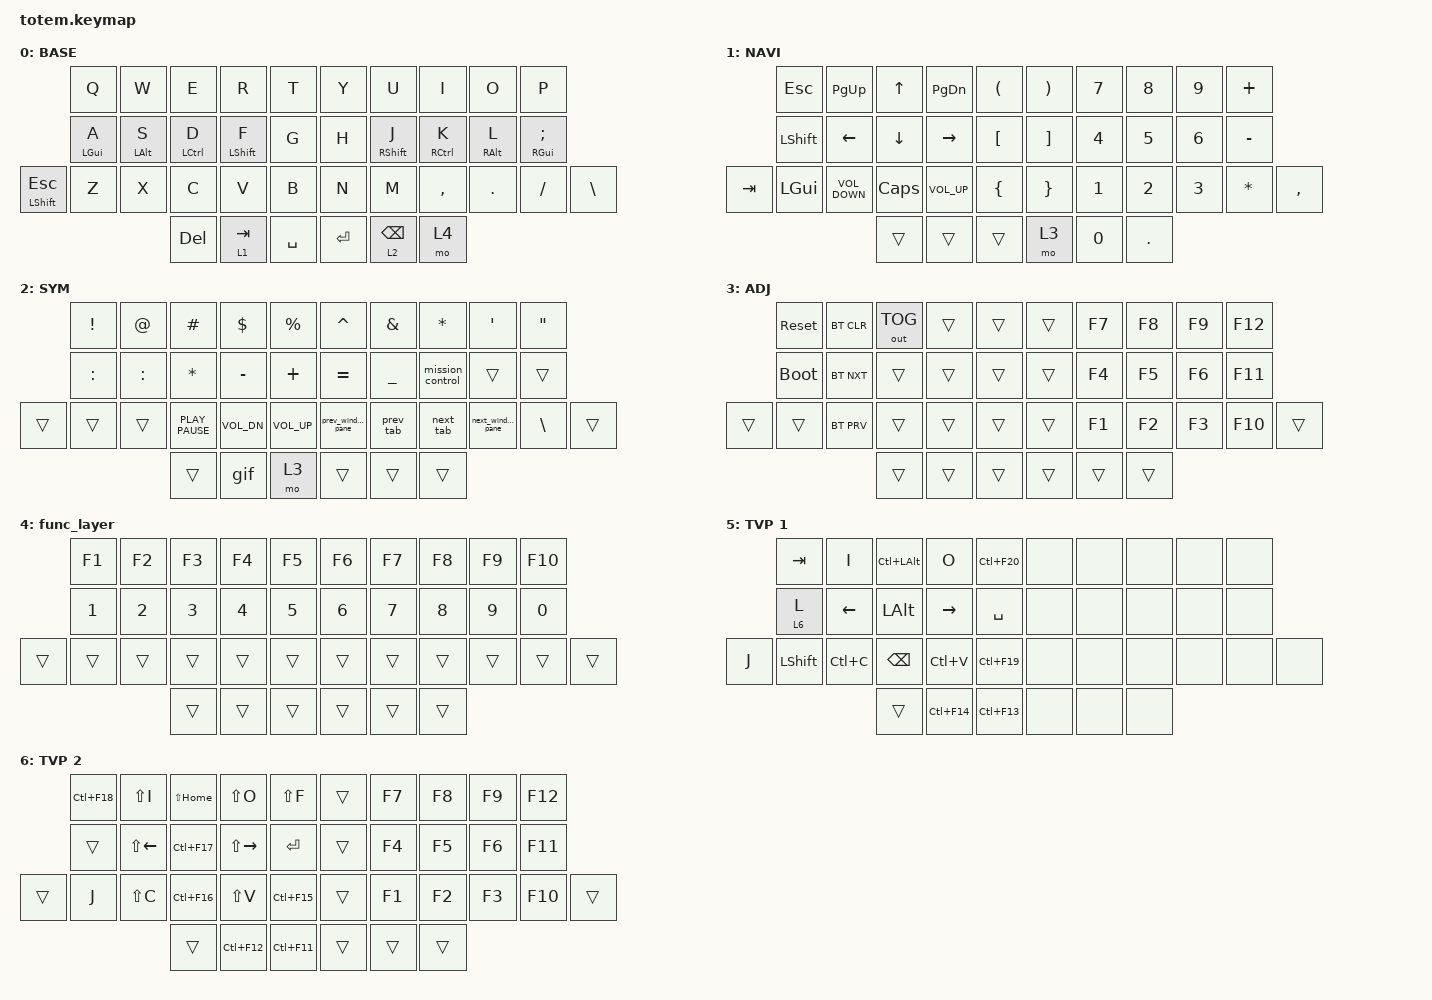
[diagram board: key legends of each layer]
//
//                                                        ▀▀▀▀▀     ▀▀▀▀▀          ▀▀█▀▀
//                                                        ▄▀▀▀▄  ▄  ▄▀▀▀▄  ▄  ▄▀▀▀▄  █  ▄▀▀▀▄
//                                                        █   █  █  █   █  █  █   █  █  █   █
//                                                         ▀▀▀   █   ▀▀▀   █   ▀▀▀   ▀   ▀▀▀
//                                                               █      ▄▄▄█▄▄▄    █   █  
//                                                               ▀      █  █  █     █▄█
//                                                             ▀▀▀▀▀    █  █  █      ▀
//                                                                      ▀  ▀  ▀
//
// ▄▄▄▄▄▄▄▄▄▄▄▄▄▄▄▄▄▄▄▄▄▄▄▄▄▄▄▄▄▄▄▄▄▄▄▄▄▄▄▄▄▄▄▄▄▄▄▄▄▄▄▄▄▄▄▄▄▄▄▄▄▄▄▄▄▄▄▄▄▄▄▄▄▄▄▄▄▄▄▄▄▄▄▄▄▄▄▄▄▄▄▄▄▄▄▄▄▄▄▄▄▄▄▄▄▄▄▄▄▄▄▄▄▄▄▄▄▄▄▄▄▄▄▄▄▄▄▄▄▄▄▄▄▄▄▄▄▄▄▄▄▄▄▄▄▄▄▄▄

#include <behaviors.dtsi>
#include <dt-bindings/zmk/bt.h>
#include <dt-bindings/zmk/keys.h>
#include <dt-bindings/zmk/outputs.h>

#define BASE 0
#define NAV  1
#define SYM  2
#define ADJ  3
#define TVP1 4
#define TVP2 5

&mt {
    quick-tap-ms = <100>;
    global-quick-tap;
    flavor = "tap-preferred";
    tapping-term-ms = <170>;
};

/ {
    combos {
        compatible = "zmk,combos";

        combo_esc {
            timeout-ms = <50>;
            key-positions = <0 1>;
            bindings = <&kp ESC>;
        };

        combo_tvp {
            timeout-ms = <100>;
            key-positions = <2 3 1>;
            bindings = <&tog 5>;
        };

        vim_escape {
            bindings = <&kp ESCAPE>;
            key-positions = <16 17>;
        };

        left_parenthesis {
            bindings = <&kp LEFT_PARENTHESIS>;
            key-positions = <4 3>;
        };

        right_parenthesis {
            bindings = <&kp RIGHT_PARENTHESIS>;
            key-positions = <5 6>;
        };

        left_brace {
            bindings = <&kp LEFT_BRACE>;
            key-positions = <24 25>;
        };

        right_brace {
            bindings = <&kp RIGHT_BRACE>;
            key-positions = <26 27>;
        };

        left_bracket {
            bindings = <&kp LEFT_BRACKET>;
            key-positions = <13 14>;
        };

        right_bracket {
            bindings = <&kp RIGHT_BRACKET>;
            key-positions = <15 16>;
        };
    };

    macros {
        gif: gif {
            label = "giphy";
            compatible = "zmk,behavior-macro";
            #binding-cells = <0>;
            bindings =
                <&macro_press>,
                <&kp LSHFT>,
                <&macro_tap>,
                <&kp N2>,
                <&macro_release>,
                <&kp LSHFT>,
                <&macro_tap>,
                <&kp G &kp I &kp F>;
        };

        next_window_pane: next_window_pane {
            compatible = "zmk,behavior-macro";
            #binding-cells = <0>;
            bindings =
                <&macro_press>,
                <&kp LCTRL &kp LEFT_GUI>,
                <&macro_tap>,
                <&kp RIGHT>,
                <&macro_release>,
                <&kp LCTRL &kp LEFT_GUI>;

            label = "NEXT_WINDOW_PANE";
        };

        prev_window_pane: prev_window_pane {
            compatible = "zmk,behavior-macro";
            #binding-cells = <0>;
            bindings =
                <&macro_press>,
                <&kp LCTRL &kp LEFT_GUI>,
                <&macro_tap>,
                <&kp LEFT>,
                <&macro_release>,
                <&kp LCTRL &kp LEFT_GUI>;

            label = "PREV_WINDOW_PANE";
        };

        next_tab: next_tab {
            compatible = "zmk,behavior-macro";
            #binding-cells = <0>;
            bindings =
                <&macro_press>,
                <&kp LCTRL>,
                <&macro_tap>,
                <&kp TAB>,
                <&macro_release>,
                <&kp LCTRL>;

            label = "NEXT_TAB";
        };

        prev_tab: prev_tab {
            compatible = "zmk,behavior-macro";
            #binding-cells = <0>;
            bindings =
                <&macro_press>,
                <&kp LCTRL &kp LEFT_SHIFT>,
                <&macro_tap>,
                <&kp TAB>,
                <&macro_release>,
                <&kp LCTRL &kp LSHFT>;

            label = "PREV_TAB";
        };

        mission_control: mission_control {
            compatible = "zmk,behavior-macro";
            #binding-cells = <0>;
            bindings =
                <&macro_press>,
                <&kp LEFT_GUI>,
                <&macro_tap>,
                <&kp TAB>,
                <&macro_release>,
                <&kp LEFT_GUI>;

            label = "MISSION_CONTROL";
        };
    };

    keymap {
        compatible = "zmk,keymap";

        // ▄▄▄▄▄▄▄▄▄▄▄▄▄▄▄▄▄▄▄▄▄▄▄▄▄▄▄▄▄▄▄▄▄▄▄▄▄▄▄▄▄▄▄▄▄▄▄▄▄▄▄▄▄▄▄▄▄▄▄▄▄▄▄▄▄▄▄▄▄▄▄▄▄▄▄▄▄▄▄▄▄▄▄▄▄▄▄▄▄▄▄▄▄▄▄▄▄▄▄▄▄▄▄▄▄▄▄▄▄▄▄▄▄▄▄▄▄▄▄▄▄▄▄▄▄▄▄▄▄▄▄▄▄▄▄▄▄▄▄▄▄▄▄▄▄▄▄▄▄

        base_layer {
            // ┏━━━━━━━━━━━━━━━━━━━━━━━━━━━━━━━━━━━━━━━┓

            label = "BASE";

            // ┗━━━━━━━━━━━━━━━━━━━━━━━━━━━━━━━━━━━━━━━┛
            //             ┏━━━━━━━━━━━┳━━━━━━━━━━━┳━━━━━━━━━━━┳━━━━━━━━━━━┳━━━━━━━━━━━┓   ┏━━━━━━━━━━━┳━━━━━━━━━━━┳━━━━━━━━━━━┳━━━━━━━━━━━┳━━━━━━━━━━━┓
            //             ┃     Q     ┃     W     ┃     F     ┃     P     ┃     G     ┃   ┃     J     ┃     L     ┃     U     ┃     Y     ┃     ;     ┃
            //             ┣━━━━━━━━━━━╋━━━━━━━━━━━╋━━━━━━━━━━━╋━━━━━━━━━━━╋━━━━━━━━━━━┫   ┣━━━━━━━━━━━╋━━━━━━━━━━━╋━━━━━━━━━━━╋━━━━━━━━━━━╋━━━━━━━━━━━┫
            //             ┃     A     ┃     R     ┃     S     ┃     T     ┃     D     ┃   ┃     H     ┃     N     ┃     E     ┃     I     ┃     O     ┃
            // ┏━━━━━━━━━━━╋━━━━━━━━━━━╋━━━━━━━━━━━╋━━━━━━━━━━━╋━━━━━━━━━━━╋━━━━━━━━━━━┫   ┣━━━━━━━━━━━╋━━━━━━━━━━━╋━━━━━━━━━━━╋━━━━━━━━━━━╋━━━━━━━━━━━╋━━━━━━━━━━━┓
            // ┃     Q     ┃     Z     ┃     X     ┃     C     ┃     V     ┃     B     ┃   ┃     K     ┃     M     ┃     ,     ┃     .     ┃     /     ┃     \     ┃
            // ┗━━━━━━━━━━━┻━━━━━━━━━━━┻━━━━━━━━━━━╋━━━━━━━━━━━╋━━━━━━━━━━━╋━━━━━━━━━━━┫   ┣━━━━━━━━━━━╋━━━━━━━━━━━╋━━━━━━━━━━━╋━━━━━━━━━━━┻━━━━━━━━━━━┻━━━━━━━━━━━┛
            //                                     ┃    DEL    ┃    TAB    ┃    SPC    ┃   ┃   ENTER   ┃           ┃   BSPC    ┃
            //                                     ┗━━━━━━━━━━━┻━━━━━━━━━━━┻━━━━━━━━━━━┛   ┗━━━━━━━━━━━┻━━━━━━━━━━━┻━━━━━━━━━━━┛

            bindings = <
                       &kp Q       &kp W           &kp E        &kp R        &kp T        &kp Y    &kp U            &kp I        &kp O       &kp P
                       &mt LGUI A  &mt LEFT_ALT S  &mt LCTRL D  &mt LSHFT F  &kp G        &kp H    &mt RSHFT J      &mt RCTRL K  &mt RALT L  &mt RGUI SEMICOLON
&mt LEFT_SHIFT ESCAPE  &kp Z       &kp X           &kp C        &kp V        &kp B        &kp N    &kp M            &kp COMMA    &kp PERIOD  &kp SLASH           &kp BSLH
                                                   &kp DEL      &lt 1 TAB    &kp SPACE    &kp RET  &lt 2 BACKSPACE  &mo 4
            >;
        };

        nav_layer {
            // ┏━━━━━━━━━━━━━━━━━━━━━━━━━━━━━━━━━━━━━━━┓

            label = "NAVI";

            // ┗━━━━━━━━━━━━━━━━━━━━━━━━━━━━━━━━━━━━━━━┛
            //             ┏━━━━━━━━━━━┳━━━━━━━━━━━┳━━━━━━━━━━━┳━━━━━━━━━━━┳━━━━━━━━━━━┓   ┏━━━━━━━━━━━┳━━━━━━━━━━━┳━━━━━━━━━━━┳━━━━━━━━━━━┳━━━━━━━━━━━┓
            //             ┃           ┃           ┃     UP    ┃           ┃     {     ┃   ┃     }     ┃     7     ┃     8     ┃     9     ┃     +     ┃
            //             ┣━━━━━━━━━━━╋━━━━━━━━━━━╋━━━━━━━━━━━╋━━━━━━━━━━━╋━━━━━━━━━━━┫   ┣━━━━━━━━━━━╋━━━━━━━━━━━╋━━━━━━━━━━━╋━━━━━━━━━━━╋━━━━━━━━━━━┫
            //             ┃   SHIFT   ┃   LEFT    ┃    DOWN   ┃   RIGHT   ┃     [     ┃   ┃     ]     ┃     4     ┃     5     ┃     6     ┃     -     ┃
            // ┏━━━━━━━━━━━╋━━━━━━━━━━━╋━━━━━━━━━━━╋━━━━━━━━━━━╋━━━━━━━━━━━╋━━━━━━━━━━━┫   ┣━━━━━━━━━━━╋━━━━━━━━━━━╋━━━━━━━━━━━╋━━━━━━━━━━━╋━━━━━━━━━━━╋━━━━━━━━━━━┓
            // ┃           ┃           ┃   P UP    ┃  C LOCK   ┃  P DOWN   ┃     (     ┃   ┃     )     ┃     1     ┃     2     ┃     3     ┃     *     ┃           ┃
            // ┗━━━━━━━━━━━┻━━━━━━━━━━━┻━━━━━━━━━━━╋━━━━━━━━━━━╋━━━━━━━━━━━╋━━━━━━━━━━━┫   ┣━━━━━━━━━━━╋━━━━━━━━━━━╋━━━━━━━━━━━╋━━━━━━━━━━━┻━━━━━━━━━━━┻━━━━━━━━━━━┛
            //                                     ┃           ┃    TAB    ┃    SPC    ┃   ┃    DEL    ┃     0     ┃           ┃
            //                                     ┗━━━━━━━━━━━┻━━━━━━━━━━━┻━━━━━━━━━━━┛   ┗━━━━━━━━━━━┻━━━━━━━━━━━┻━━━━━━━━━━━┛

            bindings = <
         &kp ESC       &kp PAGE_UP        &kp UP    &kp PAGE_DOWN    &kp LEFT_PARENTHESIS    &kp RIGHT_PARENTHESIS  &kp N7        &kp N8        &kp N9        &kp PLUS
         &kp LSHFT     &kp LEFT           &kp DOWN  &kp RIGHT        &kp LBKT                &kp RBKT               &kp NUMBER_4  &kp NUMBER_5  &kp N6        &kp MINUS
&kp TAB  &kp LEFT_GUI  &kp C_VOLUME_DOWN  &kp CAPS  &kp C_VOLUME_UP  &kp LEFT_BRACE          &kp RIGHT_BRACE        &kp NUMBER_1  &kp NUMBER_2  &kp NUMBER_3  &kp ASTERISK  &kp COMMA
                                          &trans    &trans           &trans                  &mo 3                  &kp N0        &kp PERIOD
            >;
        };

        sim_layer {
            // ┏━━━━━━━━━━━━━━━━━━━━━━━━━━━━━━━━━━━━━━━┓

            label = "SYM";

            // ┗━━━━━━━━━━━━━━━━━━━━━━━━━━━━━━━━━━━━━━━┛
            //             ┏━━━━━━━━━━━┳━━━━━━━━━━━┳━━━━━━━━━━━┳━━━━━━━━━━━┳━━━━━━━━━━━┓   ┏━━━━━━━━━━━┳━━━━━━━━━━━┳━━━━━━━━━━━┳━━━━━━━━━━━┳━━━━━━━━━━━┓
            //             ┃     !     ┃     @     ┃     #     ┃     $     ┃     %     ┃   ┃     ˆ     ┃     &     ┃     Ü     ┃     '     ┃     "     ┃
            //             ┣━━━━━━━━━━━╋━━━━━━━━━━━╋━━━━━━━━━━━╋━━━━━━━━━━━╋━━━━━━━━━━━┫   ┣━━━━━━━━━━━╋━━━━━━━━━━━╋━━━━━━━━━━━╋━━━━━━━━━━━╋━━━━━━━━━━━┫
            //             ┃     Ä     ┃           ┃    SZ     ┃           ┃           ┃   ┃   MUTE    ┃   YEN     ┃   EURO    ┃  POUND    ┃     Ö     ┃
            // ┏━━━━━━━━━━━╋━━━━━━━━━━━╋━━━━━━━━━━━╋━━━━━━━━━━━╋━━━━━━━━━━━╋━━━━━━━━━━━┫   ┣━━━━━━━━━━━╋━━━━━━━━━━━╋━━━━━━━━━━━╋━━━━━━━━━━━╋━━━━━━━━━━━╋━━━━━━━━━━━┓
            // ┃           ┃  EMAIL1   ┃  EMAIL2   ┃           ┃           ┃           ┃   ┃   VOL-    ┃   VOL+    ┃   LAST    ┃   NEXT    ┃     \     ┃           ┃
            // ┗━━━━━━━━━━━┻━━━━━━━━━━━┻━━━━━━━━━━━╋━━━━━━━━━━━╋━━━━━━━━━━━╋━━━━━━━━━━━┫   ┣━━━━━━━━━━━╋━━━━━━━━━━━╋━━━━━━━━━━━╋━━━━━━━━━━━┻━━━━━━━━━━━┻━━━━━━━━━━━┛
            //                                     ┃           ┃    GIF    ┃    ADJ    ┃   ┃           ┃           ┃           ┃
            //                                     ┗━━━━━━━━━━━┻━━━━━━━━━━━┻━━━━━━━━━━━┛   ┗━━━━━━━━━━━┻━━━━━━━━━━━┻━━━━━━━━━━━┛

            bindings = <
        &kp EXCL   &kp AT     &kp HASH          &kp DLLR      &kp PRCNT          &kp CARET          &kp AMPS   &kp ASTERISK      &kp SQT            &kp DQT
        &kp COLON  &kp COLON  &kp ASTERISK      &kp MINUS     &kp PLUS           &kp EQUAL          &kp UNDER  &mission_control  &trans             &trans
&trans  &trans     &trans     &kp K_PLAY_PAUSE  &kp C_VOL_DN  &kp C_VOLUME_UP    &prev_window_pane  &prev_tab  &next_tab         &next_window_pane  &kp BSLH  &trans
                              &trans            &gif          &mo 3              &trans             &trans     &trans
            >;
        };

        adjust_layer {
            // ┏━━━━━━━━━━━━━━━━━━━━━━━━━━━━━━━━━━━━━━━┓

            label = "ADJ";

            // ┗━━━━━━━━━━━━━━━━━━━━━━━━━━━━━━━━━━━━━━━┛
            //             ┏━━━━━━━━━━━┳━━━━━━━━━━━┳━━━━━━━━━━━┳━━━━━━━━━━━┳━━━━━━━━━━━┓   ┏━━━━━━━━━━━┳━━━━━━━━━━━┳━━━━━━━━━━━┳━━━━━━━━━━━┳━━━━━━━━━━━┓
            //             ┃   RESET   ┃ BT CLEAR  ┃  OUT TOG  ┃           ┃           ┃   ┃           ┃    F7     ┃    F8     ┃    F9     ┃    F12    ┃
            //             ┣━━━━━━━━━━━╋━━━━━━━━━━━╋━━━━━━━━━━━╋━━━━━━━━━━━╋━━━━━━━━━━━┫   ┣━━━━━━━━━━━╋━━━━━━━━━━━╋━━━━━━━━━━━╋━━━━━━━━━━━╋━━━━━━━━━━━┫
            //             ┃ BOOTLOAD  ┃ BT NEXT   ┃           ┃           ┃           ┃   ┃           ┃    F4     ┃    F5     ┃    F6     ┃    F11    ┃
            // ┏━━━━━━━━━━━╋━━━━━━━━━━━╋━━━━━━━━━━━╋━━━━━━━━━━━╋━━━━━━━━━━━╋━━━━━━━━━━━┫   ┣━━━━━━━━━━━╋━━━━━━━━━━━╋━━━━━━━━━━━╋━━━━━━━━━━━╋━━━━━━━━━━━╋━━━━━━━━━━━┓
            // ┃           ┃           ┃ BT PREV   ┃           ┃           ┃           ┃   ┃           ┃    F1     ┃    F2     ┃    F3     ┃    F10    ┃           ┃
            // ┗━━━━━━━━━━━┻━━━━━━━━━━━┻━━━━━━━━━━━╋━━━━━━━━━━━╋━━━━━━━━━━━╋━━━━━━━━━━━┫   ┣━━━━━━━━━━━╋━━━━━━━━━━━╋━━━━━━━━━━━╋━━━━━━━━━━━┻━━━━━━━━━━━┻━━━━━━━━━━━┛
            //                                     ┃           ┃           ┃           ┃   ┃           ┃           ┃           ┃
            //                                     ┗━━━━━━━━━━━┻━━━━━━━━━━━┻━━━━━━━━━━━┛   ┗━━━━━━━━━━━┻━━━━━━━━━━━┻━━━━━━━━━━━┛

            bindings = <
        &sys_reset   &bt BT_CLR  &out OUT_TOG  &trans  &trans    &trans  &kp F7  &kp F8  &kp F9  &kp F12
        &bootloader  &bt BT_NXT  &trans        &trans  &trans    &trans  &kp F4  &kp F5  &kp F6  &kp F11
&trans  &trans       &bt BT_PRV  &trans        &trans  &trans    &trans  &kp F1  &kp F2  &kp F3  &kp F10  &trans
                                 &trans        &trans  &trans    &trans  &trans  &trans
            >;
        };

        func_layer {
            bindings = <
        &kp F1        &kp F2        &kp F3        &kp F4        &kp F5    &kp F6        &kp F7  &kp F8  &kp F9  &kp F10
        &kp NUMBER_1  &kp NUMBER_2  &kp NUMBER_3  &kp NUMBER_4  &kp N5    &kp NUMBER_6  &kp N7  &kp N8  &kp N9  &kp N0
&trans  &trans        &trans        &trans        &trans        &trans    &trans        &trans  &trans  &trans  &trans   &trans
                                    &trans        &trans        &trans    &trans        &trans  &trans
            >;
        };

        tvp1_layer {
            // ┏━━━━━━━━━━━━━━━━━━━━━━━━━━━━━━━━━━━━━━━┓

            label = "TVP 1";

            // ┗━━━━━━━━━━━━━━━━━━━━━━━━━━━━━━━━━━━━━━━┛
            //             ┏━━━━━━━━━━━┳━━━━━━━━━━━┳━━━━━━━━━━━┳━━━━━━━━━━━┳━━━━━━━━━━━┓   ┏━━━━━━━━━━━┳━━━━━━━━━━━┳━━━━━━━━━━━┳━━━━━━━━━━━┳━━━━━━━━━━━┓
            //             ┃ NEXT FILE ┃ MARK IN   ┃ ROTATE    ┃ MARK OUT  ┃ SHOW SNAP ┃   ┃           ┃           ┃           ┃           ┃           ┃
            //             ┣━━━━━━━━━━━╋━━━━━━━━━━━╋━━━━━━━━━━━╋━━━━━━━━━━━╋━━━━━━━━━━━┫   ┣━━━━━━━━━━━╋━━━━━━━━━━━╋━━━━━━━━━━━╋━━━━━━━━━━━╋━━━━━━━━━━━┫
            //             ┃ TVP II    ┃ LEFT      ┃ PAN       ┃ RIGHT     ┃ PLAY/FLIP ┃   ┃           ┃           ┃           ┃           ┃           ┃
            // ┏━━━━━━━━━━━╋━━━━━━━━━━━╋━━━━━━━━━━━╋━━━━━━━━━━━╋━━━━━━━━━━━╋━━━━━━━━━━━┫   ┣━━━━━━━━━━━╋━━━━━━━━━━━╋━━━━━━━━━━━╋━━━━━━━━━━━╋━━━━━━━━━━━╋━━━━━━━━━━━┓
            // ┃ FULLSCR   ┃ SHIFT     ┃ COPY      ┃ DELETE    ┃ PASTE     ┃ IMG MARK  ┃   ┃           ┃           ┃           ┃           ┃           ┃           ┃
            // ┗━━━━━━━━━━━┻━━━━━━━━━━━┻━━━━━━━━━━━╋━━━━━━━━━━━╋━━━━━━━━━━━╋━━━━━━━━━━━┫   ┣━━━━━━━━━━━╋━━━━━━━━━━━╋━━━━━━━━━━━╋━━━━━━━━━━━┻━━━━━━━━━━━┻━━━━━━━━━━━┛
            //                                     ┃           ┃ UNDO/SAVE ┃  SEL/MOV  ┃   ┃           ┃           ┃           ┃
            //                                     ┗━━━━━━━━━━━┻━━━━━━━━━━━┻━━━━━━━━━━━┛   ┗━━━━━━━━━━━┻━━━━━━━━━━━┻━━━━━━━━━━━┛

            bindings = <
       &kp TAB    &kp I      &kp LC(LALT)  &kp O        &kp LC(F20)    &none  &none  &none  &none  &none
       &lt 6 L    &kp LEFT   &kp LALT      &kp RIGHT    &kp SPACE      &none  &none  &none  &none  &none
&kp J  &kp LSHFT  &kp LC(C)  &kp BSPC      &kp LC(V)    &kp LC(F19)    &none  &none  &none  &none  &none  &none
                             &trans        &kp LC(F14)  &kp LC(F13)    &none  &none  &none
            >;
        };

        tvp2_layer {
            // ┏━━━━━━━━━━━━━━━━━━━━━━━━━━━━━━━━━━━━━━━┓

            label = "TVP 2";

            // ┗━━━━━━━━━━━━━━━━━━━━━━━━━━━━━━━━━━━━━━━┛
            //             ┏━━━━━━━━━━━┳━━━━━━━━━━━┳━━━━━━━━━━━┳━━━━━━━━━━━┳━━━━━━━━━━━┓   ┏━━━━━━━━━━━┳━━━━━━━━━━━┳━━━━━━━━━━━┳━━━━━━━━━━━┳━━━━━━━━━━━┓
            //             ┃ SOLO      ┃ TOGGLE IN ┃ RESET ROT ┃ TOGGLE OUT┃ TAKE SNAP ┃   ┃           ┃           ┃           ┃           ┃           ┃
            //             ┣━━━━━━━━━━━╋━━━━━━━━━━━╋━━━━━━━━━━━╋━━━━━━━━━━━╋━━━━━━━━━━━┫   ┣━━━━━━━━━━━╋━━━━━━━━━━━╋━━━━━━━━━━━╋━━━━━━━━━━━╋━━━━━━━━━━━┫
            //             ┃ ---       ┃ LAST KEY  ┃ NEW KEY   ┃ NEXT KEY  ┃ ENTER     ┃   ┃           ┃           ┃           ┃           ┃           ┃
            // ┏━━━━━━━━━━━╋━━━━━━━━━━━╋━━━━━━━━━━━╋━━━━━━━━━━━╋━━━━━━━━━━━╋━━━━━━━━━━━┫   ┣━━━━━━━━━━━╋━━━━━━━━━━━╋━━━━━━━━━━━╋━━━━━━━━━━━╋━━━━━━━━━━━╋━━━━━━━━━━━┓
            // ┃           ┃ FULLSCR   ┃ CPY2BRUSH ┃ DEL HEAD  ┃ PSTinPLACE┃ BOOK MARK ┃   ┃           ┃           ┃           ┃           ┃           ┃           ┃
            // ┗━━━━━━━━━━━┻━━━━━━━━━━━┻━━━━━━━━━━━╋━━━━━━━━━━━╋━━━━━━━━━━━╋━━━━━━━━━━━┫   ┣━━━━━━━━━━━╋━━━━━━━━━━━╋━━━━━━━━━━━╋━━━━━━━━━━━┻━━━━━━━━━━━┻━━━━━━━━━━━┛
            //                                     ┃           ┃ REDO/SAV1 ┃TRANS/WARP ┃   ┃           ┃           ┃           ┃
            //                                     ┗━━━━━━━━━━━┻━━━━━━━━━━━┻━━━━━━━━━━━┛   ┗━━━━━━━━━━━┻━━━━━━━━━━━┻━━━━━━━━━━━┛

            bindings = <
        &kp LC(F18)  &kp LS(I)     &kp LS(HOME)  &kp LS(O)      &kp LS(F)      &trans  &kp F7  &kp F8  &kp F9  &kp F12
        &trans       &kp LS(LEFT)  &kp LC(F17)   &kp LS(RIGHT)  &kp RET        &trans  &kp F4  &kp F5  &kp F6  &kp F11
&trans  &kp J        &kp LS(C)     &kp LC(F16)   &kp LS(V)      &kp LC(F15)    &trans  &kp F1  &kp F2  &kp F3  &kp F10  &trans
                                   &trans        &kp LC(F12)    &kp LC(F11)    &trans  &trans  &trans
            >;
        };
    };
};
